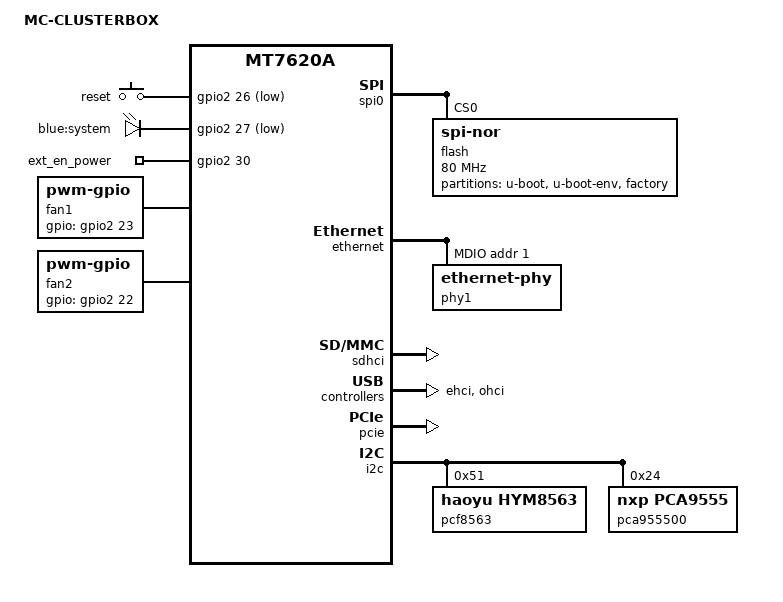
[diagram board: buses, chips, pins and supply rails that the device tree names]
#include "mt7620a.dtsi"

#include <dt-bindings/gpio/gpio.h>
#include <dt-bindings/input/input.h>

/ {
    compatible = "cluster-box-control-V120","cluster-box-control","ralink,mt7620a-evb", "ralink,mt7620a-soc";
	model = "MC-CLUSTERBOX";

	chosen {
		//bootargs = "console=ttyS0,115200";
		bootargs = "console=ttyS0,115200 root=/dev/mmcblk0p2 rootwait rw";
	};

	/delete-node/ wmac@10180000;

	aliases {
		led-boot = &led_system;
		led-failsafe = &led_system;
		led-running = &led_system;
		led-upgrade = &led_system;
	};

	keys {
		compatible = "gpio-keys";

		reset {
			label = "reset";
			gpios = <&gpio2 26 GPIO_ACTIVE_LOW>;
			linux,code = <KEY_RESTART>;
		};
	};

	leds {
		compatible = "gpio-leds";

		led_system: system {
			label = "blue:system";
			gpios = <&gpio2 27 GPIO_ACTIVE_LOW>;
		};
    };

	gpio_export {
		compatible = "gpio-export";
		#size-cells = <0>;

		EXT_EN {
			gpio-export,name = "ext_en_power";
			gpio-export,output = <1>;
			gpios = <&gpio2 30 GPIO_ACTIVE_HIGH>;
		};
	};

	/* Fans: software PWM on GPIO (Linux pwm-gpio), one chip per fan:
	 * pwmchip0/pwm0 = fan1, pwmchip1/pwm0 = fan2 (fan-boot, nodectl).
	 * The tachometer lines (gpio2 21/20) are not used.
	 */
	fan1: pwm-fan1 {
		compatible = "pwm-gpio";
		#pwm-cells = <3>;
		gpios = <&gpio2 23 GPIO_ACTIVE_HIGH>;
	};

	fan2: pwm-fan2 {
		compatible = "pwm-gpio";
		#pwm-cells = <3>;
		gpios = <&gpio2 22 GPIO_ACTIVE_HIGH>;
	};
};

&spi0 {
	status = "okay";

	flash@0 {
		compatible = "jedec,spi-nor";
		reg = <0>;
		spi-max-frequency = <80000000>;
		m25p,fast-read;

		partitions {
			compatible = "fixed-partitions";
			#address-cells = <1>;
			#size-cells = <1>;

			partition@0 {
				label = "u-boot";
				reg = <0x0 0x30000>;
				read-only;
			};

			partition@30000 {
				label = "u-boot-env";
				reg = <0x30000 0x10000>;
				read-only;
			};

			partition@40000 {
				label = "factory";
				reg = <0x40000 0x10000>;
				read-only;

				nvmem-layout {
					compatible = "fixed-layout";
					#address-cells = <1>;
					#size-cells = <1>;

					macaddr_factory_4: macaddr@4 {
						reg = <0x4 0x6>;
					};
				};
			};
		};
	};
};

&ethernet {
	pinctrl-names = "default";
	pinctrl-0 = <&mdio_pins>, <&rgmii1_pins>;

	nvmem-cells = <&macaddr_factory_4>;
	nvmem-cell-names = "mac-address";

	mediatek,portmap = "llllw";

	port@5 {
		status = "okay";
		phy-handle = <&phy1>;
		phy-mode = "rgmii";
	};

	mdio-bus {
		status = "okay";

		phy1: ethernet-phy@1 {
			reg = <1>;
			phy-mode = "rgmii";
		};
	};
};

&gsw {
	mediatek,ephy-base = /bits/ 8 <12>;
};

&sdhci {
	status = "okay";
};

&ehci {
	status = "okay";
};

&ohci {
	status = "okay";
};

&pcie {
	status = "okay";
};


&state_default {
	gpio {
		groups = "uartf", "wled", "rgmii2";
		function = "gpio";
	};
};

&gpio0 {
	status = "okay";
};

&gpio1 {
	status = "okay";
};

&gpio2 {
	status = "okay";
};

&gpio3 {
	status = "okay";
};

&i2c {
	status = "okay";

	pcf8563: pcf8563@51 {
		compatible = "haoyu,hym8563";
		status = "okay";
		reg = <0x51>;
	};

	pca955500: pca95550@24 {
		compatible = "nxp,pca9555";
		status = "okay";
		reg = <0x24>;
	};
};
